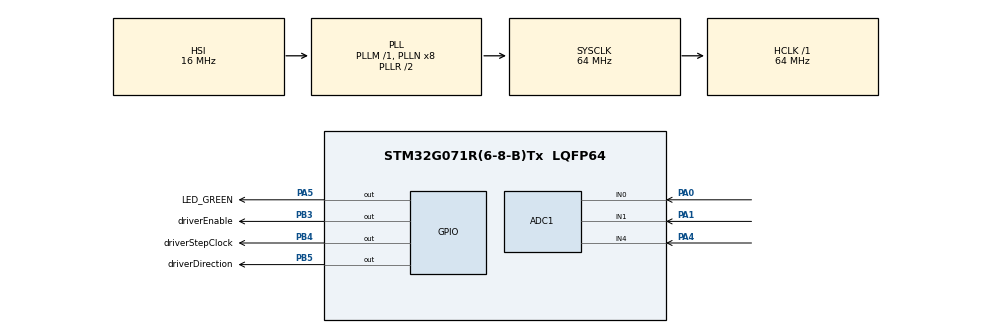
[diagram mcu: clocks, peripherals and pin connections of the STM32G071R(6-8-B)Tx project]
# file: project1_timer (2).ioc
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ADC1.Channel-0\#ChannelRegularConversion=ADC_CHANNEL_0
ADC1.Channel-1\#ChannelRegularConversion=ADC_CHANNEL_1
ADC1.Channel-2\#ChannelRegularConversion=ADC_CHANNEL_4
ADC1.ClockPrescaler=ADC_CLOCK_ASYNC_DIV1
ADC1.DMAContinuousRequests=ENABLE
ADC1.ExternalTrigConv=ADC_EXTERNALTRIG_T2_TRGO
ADC1.NbrOfConversion=3
ADC1.NbrOfConversionFlag=1
ADC1.Rank-0\#ChannelRegularConversion=1
ADC1.Rank-1\#ChannelRegularConversion=2
ADC1.Rank-2\#ChannelRegularConversion=3
ADC1.SamplingTime-0\#ChannelRegularConversion=ADC_SAMPLINGTIME_COMMON_1
ADC1.SamplingTime-1\#ChannelRegularConversion=ADC_SAMPLINGTIME_COMMON_1
ADC1.SamplingTime-2\#ChannelRegularConversion=ADC_SAMPLINGTIME_COMMON_1
ADC1.SelectedChannel=ADC_CHANNEL_0|ADC_CHANNEL_1|ADC_CHANNEL_4
ADC1.master=1
Dma.ADC1.0.Direction=DMA_PERIPH_TO_MEMORY
Dma.ADC1.0.EventEnable=DISABLE
Dma.ADC1.0.Instance=DMA1_Channel1
Dma.ADC1.0.MemDataAlignment=DMA_MDATAALIGN_HALFWORD
Dma.ADC1.0.MemInc=DMA_MINC_ENABLE
Dma.ADC1.0.Mode=DMA_CIRCULAR
Dma.ADC1.0.PeriphDataAlignment=DMA_PDATAALIGN_HALFWORD
Dma.ADC1.0.PeriphInc=DMA_PINC_DISABLE
Dma.ADC1.0.Polarity=HAL_DMAMUX_REQ_GEN_RISING
Dma.ADC1.0.Priority=DMA_PRIORITY_LOW
Dma.ADC1.0.RequestNumber=1
Dma.ADC1.0.SignalID=NONE
Dma.ADC1.0.SyncEnable=DISABLE
Dma.ADC1.0.SyncPolarity=HAL_DMAMUX_SYNC_NO_EVENT
Dma.ADC1.0.SyncRequestNumber=1
Dma.ADC1.0.SyncSignalID=NONE
Dma.Request0=ADC1
Mcu.Family=STM32G0
Mcu.Name=STM32G071R(6-8-B)Tx
Mcu.Package=LQFP64
NVIC.DMA1_Channel1_IRQn=true\:0\:0\:false\:false\:true\:false\:true\:true
NVIC.TIM1_BRK_UP_TRG_COM_IRQn=true\:0\:0\:false\:false\:true\:true\:true\:true
NVIC.TIM2_IRQn=true\:0\:0\:false\:false\:true\:true\:true\:true
PA0.Mode=IN0
PA0.Signal=ADC1_IN0
PA1.Mode=IN1
PA1.Signal=ADC1_IN1
PA13.GPIO_Label=TMS
PA13.Signal=SYS_SWDIO
PA14-BOOT0.GPIO_Label=TCK
PA14-BOOT0.Signal=SYS_SWCLK
PA2.GPIO_Label=USART2_TX [STLK_TX]
PA2.Signal=USART2_TX
PA3.GPIO_Label=USART2_RX [STLK_RX]
PA3.Signal=USART2_RX
PA4.Mode=IN4
PA4.Signal=ADC1_IN4
PA5.GPIO_Label=LED_GREEN
PA5.GPIO_Speed=GPIO_SPEED_FREQ_HIGH
PA5.Signal=GPIO_Output
PB3.GPIO_Label=driverEnable
PB3.Signal=GPIO_Output
PB4.GPIO_Label=driverStepClock
PB4.Signal=GPIO_Output
PB5.GPIO_Label=driverDirection
PB5.Signal=GPIO_Output
PC13.Signal=SYS_WKUP2
PC14-OSC32_IN\ (PC14).Signal=RCC_OSC32_IN
PC15-OSC32_OUT\ (PC15).Signal=RCC_OSC32_OUT
PF0-OSC_IN\ (PF0).GPIO_Label=MCO
PF0-OSC_IN\ (PF0).Signal=RCC_OSC_IN
ProjectManager.HeapSize=0x200
ProjectManager.StackSize=0x400
ProjectManager.TargetToolchain=MDK-ARM V5.32
RCC.ADCFreq_Value=64000000
RCC.AHBFreq_Value=64000000
RCC.CortexFreq_Value=64000000
RCC.EXTERNAL_CLOCK_VALUE=12288000
RCC.HCLKFreq_Value=64000000
RCC.HSE_VALUE=8000000
RCC.HSI_VALUE=16000000
RCC.LSE_VALUE=32768
RCC.SYSCLKFreq_VALUE=64000000
RCC.SYSCLKSource=RCC_SYSCLKSOURCE_PLLCLK
RCC.VCOOutputFreq_Value=128000000
TIM1.Period=1000-1
TIM1.Prescaler=64-1
TIM2.Period=30-1
TIM2.Prescaler=64-1
TIM2.TIM_MasterOutputTrigger=TIM_TRGO_UPDATE
VP_TIM1_VS_ClockSourceINT.Mode=Internal
VP_TIM2_VS_ClockSourceINT.Mode=Internal
board=NUCLEO-G071RB

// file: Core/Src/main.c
/* USER CODE BEGIN Header */
/**
  ******************************************************************************
  * @file           : main.c
  * @brief          : Main program body
  ******************************************************************************
  * @attention
  *
  * Copyright (c) 2023 STMicroelectronics.
  * All rights reserved.
  *
  * This software is licensed under terms that can be found in the LICENSE file
  * in the root directory of this software component.
  * If no LICENSE file comes with this software, it is provided AS-IS.
  *
  ******************************************************************************
  */
/* USER CODE END Header */
#include "main.h"

/* USER CODE BEGIN Includes */
#include "stdbool.h"
/* USER CODE END Includes */

ADC_HandleTypeDef hadc1;
DMA_HandleTypeDef hdma_adc1;

TIM_HandleTypeDef htim1;
TIM_HandleTypeDef htim2;

void SystemClock_Config(void);
static void MX_GPIO_Init(void);
static void MX_DMA_Init(void);
static void MX_TIM1_Init(void);
static void MX_ADC1_Init(void);
static void MX_TIM2_Init(void);
/* USER CODE BEGIN PFP */

volatile uint8_t timerCount = 0;
volatile bool timerFlag = false;
volatile uint16_t motorStepCount = 0;
volatile uint16_t motorRotateCount = 0;
volatile uint16_t noOfTurn = 10;
volatile uint16_t noSteptoGive = 8000;
uint16_t x = 0 ;
volatile uint32_t adcResult[3];
/* USER CODE END PFP */

int main(void)
{

  /* MCU Configuration--------------------------------------------------------*/

  /* Reset of all peripherals, Initializes the Flash interface and the Systick. */
  HAL_Init();

  /* Configure the system clock */
  SystemClock_Config();

  /* Initialize all configured peripherals */
  MX_GPIO_Init();
  MX_DMA_Init();
  MX_TIM1_Init();
  MX_ADC1_Init();
  MX_TIM2_Init();
  /* USER CODE BEGIN 2 */
	HAL_TIM_Base_Start_IT(&htim1);
	HAL_TIM_Base_Start_IT(&htim2);
	HAL_ADC_Start_DMA(&hadc1,adcResult,3);
  /* USER CODE END 2 */

  /* Infinite loop */
  /* USER CODE BEGIN WHILE */
	HAL_Delay(2);
  while (1)
  {
    /* USER CODE END WHILE */

    /* USER CODE BEGIN 3 */
		if (timerFlag)
		{
			timerFlag = false;
			timerCount += 1;
			switch (timerCount)
			{
				case 1:

					HAL_GPIO_WritePin(driverStepClock_GPIO_Port,driverStepClock_Pin, GPIO_PIN_SET);
					motorStepCount += 1;
					break;
				case 12:
					HAL_GPIO_WritePin(driverStepClock_GPIO_Port,driverStepClock_Pin, GPIO_PIN_RESET);
					if (motorStepCount == noSteptoGive)
					{
						motorStepCount = 0;
						HAL_GPIO_TogglePin(driverDirection_GPIO_Port, driverDirection_Pin);
					}
					// write logic for ADC Start and its timer (on ADCwithdma and timer for its trigger)
					break;
				case 24:
					break;
					// write logic for ADC stop and its timer (on ADCwithdma and timer for its trigger)
					// transmit data from here
				case 36:
					timerCount = 0;
					if(motorRotateCount == 2*noSteptoGive)
					{
						HAL_TIM_Base_Stop_IT(&htim1);
						HAL_GPIO_WritePin(driverEnable_GPIO_Port, driverEnable_Pin,GPIO_PIN_RESET);
					}
					break;

			}

		}
  }
  /* USER CODE END 3 */
}

void SystemClock_Config(void)
{
  RCC_OscInitTypeDef RCC_OscInitStruct = {0};
  RCC_ClkInitTypeDef RCC_ClkInitStruct = {0};

  /** Configure the main internal regulator output voltage
  */
  HAL_PWREx_ControlVoltageScaling(PWR_REGULATOR_VOLTAGE_SCALE1);

  /** Initializes the RCC Oscillators according to the specified parameters
  * in the RCC_OscInitTypeDef structure.
  */
  RCC_OscInitStruct.OscillatorType = RCC_OSCILLATORTYPE_HSI;
  RCC_OscInitStruct.HSIState = RCC_HSI_ON;
  RCC_OscInitStruct.HSIDiv = RCC_HSI_DIV1;
  RCC_OscInitStruct.HSICalibrationValue = RCC_HSICALIBRATION_DEFAULT;
  RCC_OscInitStruct.PLL.PLLState = RCC_PLL_ON;
  RCC_OscInitStruct.PLL.PLLSource = RCC_PLLSOURCE_HSI;
  RCC_OscInitStruct.PLL.PLLM = RCC_PLLM_DIV1;
  RCC_OscInitStruct.PLL.PLLN = 8;
  RCC_OscInitStruct.PLL.PLLP = RCC_PLLP_DIV2;
  RCC_OscInitStruct.PLL.PLLQ = RCC_PLLQ_DIV2;
  RCC_OscInitStruct.PLL.PLLR = RCC_PLLR_DIV2;
  if (HAL_RCC_OscConfig(&RCC_OscInitStruct) != HAL_OK)
  {
    Error_Handler();
  }

  /** Initializes the CPU, AHB and APB buses clocks
  */
  RCC_ClkInitStruct.ClockType = RCC_CLOCKTYPE_HCLK|RCC_CLOCKTYPE_SYSCLK
                              |RCC_CLOCKTYPE_PCLK1;
  RCC_ClkInitStruct.SYSCLKSource = RCC_SYSCLKSOURCE_PLLCLK;
  RCC_ClkInitStruct.AHBCLKDivider = RCC_SYSCLK_DIV1;
  RCC_ClkInitStruct.APB1CLKDivider = RCC_HCLK_DIV1;

  if (HAL_RCC_ClockConfig(&RCC_ClkInitStruct, FLASH_LATENCY_2) != HAL_OK)
  {
    Error_Handler();
  }
}

static void MX_ADC1_Init(void)
{

  ADC_ChannelConfTypeDef sConfig = {0};

  /** Configure the global features of the ADC (Clock, Resolution, Data Alignment and number of conversion)
  */
  hadc1.Instance = ADC1;
  hadc1.Init.ClockPrescaler = ADC_CLOCK_ASYNC_DIV1;
  hadc1.Init.Resolution = ADC_RESOLUTION_12B;
  hadc1.Init.DataAlign = ADC_DATAALIGN_RIGHT;
  hadc1.Init.ScanConvMode = ADC_SCAN_ENABLE;
  hadc1.Init.EOCSelection = ADC_EOC_SINGLE_CONV;
  hadc1.Init.LowPowerAutoWait = DISABLE;
  hadc1.Init.LowPowerAutoPowerOff = DISABLE;
  hadc1.Init.ContinuousConvMode = DISABLE;
  hadc1.Init.NbrOfConversion = 3;
  hadc1.Init.DiscontinuousConvMode = DISABLE;
  hadc1.Init.ExternalTrigConv = ADC_EXTERNALTRIG_T2_TRGO;
  hadc1.Init.ExternalTrigConvEdge = ADC_EXTERNALTRIGCONVEDGE_RISING;
  hadc1.Init.DMAContinuousRequests = ENABLE;
  hadc1.Init.Overrun = ADC_OVR_DATA_PRESERVED;
  hadc1.Init.SamplingTimeCommon1 = ADC_SAMPLETIME_1CYCLE_5;
  hadc1.Init.SamplingTimeCommon2 = ADC_SAMPLETIME_1CYCLE_5;
  hadc1.Init.OversamplingMode = DISABLE;
  hadc1.Init.TriggerFrequencyMode = ADC_TRIGGER_FREQ_HIGH;
  if (HAL_ADC_Init(&hadc1) != HAL_OK)
  {
    Error_Handler();
  }

  /** Configure Regular Channel
  */
  sConfig.Channel = ADC_CHANNEL_0;
  sConfig.Rank = ADC_REGULAR_RANK_1;
  sConfig.SamplingTime = ADC_SAMPLINGTIME_COMMON_1;
  if (HAL_ADC_ConfigChannel(&hadc1, &sConfig) != HAL_OK)
  {
    Error_Handler();
  }

  /** Configure Regular Channel
  */
  sConfig.Channel = ADC_CHANNEL_1;
  sConfig.Rank = ADC_REGULAR_RANK_2;
  if (HAL_ADC_ConfigChannel(&hadc1, &sConfig) != HAL_OK)
  {
    Error_Handler();
  }

  /** Configure Regular Channel
  */
  sConfig.Channel = ADC_CHANNEL_4;
  sConfig.Rank = ADC_REGULAR_RANK_3;
  if (HAL_ADC_ConfigChannel(&hadc1, &sConfig) != HAL_OK)
  {
    Error_Handler();
  }

}

static void MX_TIM1_Init(void)
{

  TIM_ClockConfigTypeDef sClockSourceConfig = {0};
  TIM_MasterConfigTypeDef sMasterConfig = {0};

  htim1.Instance = TIM1;
  htim1.Init.Prescaler = 64-1;
  htim1.Init.CounterMode = TIM_COUNTERMODE_UP;
  htim1.Init.Period = 1000-1;
  htim1.Init.ClockDivision = TIM_CLOCKDIVISION_DIV1;
  htim1.Init.RepetitionCounter = 0;
  htim1.Init.AutoReloadPreload = TIM_AUTORELOAD_PRELOAD_DISABLE;
  if (HAL_TIM_Base_Init(&htim1) != HAL_OK)
  {
    Error_Handler();
  }
  sClockSourceConfig.ClockSource = TIM_CLOCKSOURCE_INTERNAL;
  if (HAL_TIM_ConfigClockSource(&htim1, &sClockSourceConfig) != HAL_OK)
  {
    Error_Handler();
  }
  sMasterConfig.MasterOutputTrigger = TIM_TRGO_RESET;
  sMasterConfig.MasterOutputTrigger2 = TIM_TRGO2_RESET;
  sMasterConfig.MasterSlaveMode = TIM_MASTERSLAVEMODE_DISABLE;
  if (HAL_TIMEx_MasterConfigSynchronization(&htim1, &sMasterConfig) != HAL_OK)
  {
    Error_Handler();
  }

}

static void MX_TIM2_Init(void)
{

  TIM_ClockConfigTypeDef sClockSourceConfig = {0};
  TIM_MasterConfigTypeDef sMasterConfig = {0};

  htim2.Instance = TIM2;
  htim2.Init.Prescaler = 64-1;
  htim2.Init.CounterMode = TIM_COUNTERMODE_UP;
  htim2.Init.Period = 30-1;
  htim2.Init.ClockDivision = TIM_CLOCKDIVISION_DIV1;
  htim2.Init.AutoReloadPreload = TIM_AUTORELOAD_PRELOAD_DISABLE;
  if (HAL_TIM_Base_Init(&htim2) != HAL_OK)
  {
    Error_Handler();
  }
  sClockSourceConfig.ClockSource = TIM_CLOCKSOURCE_INTERNAL;
  if (HAL_TIM_ConfigClockSource(&htim2, &sClockSourceConfig) != HAL_OK)
  {
    Error_Handler();
  }
  sMasterConfig.MasterOutputTrigger = TIM_TRGO_UPDATE;
  sMasterConfig.MasterSlaveMode = TIM_MASTERSLAVEMODE_DISABLE;
  if (HAL_TIMEx_MasterConfigSynchronization(&htim2, &sMasterConfig) != HAL_OK)
  {
    Error_Handler();
  }

}

static void MX_DMA_Init(void)
{

  /* DMA controller clock enable */
  __HAL_RCC_DMA1_CLK_ENABLE();

  /* DMA interrupt init */
  /* DMA1_Channel1_IRQn interrupt configuration */
  HAL_NVIC_SetPriority(DMA1_Channel1_IRQn, 0, 0);
  HAL_NVIC_EnableIRQ(DMA1_Channel1_IRQn);

}

static void MX_GPIO_Init(void)
{
  GPIO_InitTypeDef GPIO_InitStruct = {0};

  /* GPIO Ports Clock Enable */
  __HAL_RCC_GPIOC_CLK_ENABLE();
  __HAL_RCC_GPIOF_CLK_ENABLE();
  __HAL_RCC_GPIOA_CLK_ENABLE();
  __HAL_RCC_GPIOB_CLK_ENABLE();

  /*Configure GPIO pin Output Level */
  HAL_GPIO_WritePin(LED_GREEN_GPIO_Port, LED_GREEN_Pin, GPIO_PIN_RESET);

  /*Configure GPIO pin Output Level */
  HAL_GPIO_WritePin(GPIOB, driverEnable_Pin|driverStepClock_Pin|driverDirection_Pin, GPIO_PIN_RESET);

  /*Configure GPIO pins : USART2_TX_Pin USART2_RX_Pin */
  GPIO_InitStruct.Pin = USART2_TX_Pin|USART2_RX_Pin;
  GPIO_InitStruct.Mode = GPIO_MODE_AF_PP;
  GPIO_InitStruct.Pull = GPIO_NOPULL;
  GPIO_InitStruct.Speed = GPIO_SPEED_FREQ_LOW;
  GPIO_InitStruct.Alternate = GPIO_AF1_USART2;
  HAL_GPIO_Init(GPIOA, &GPIO_InitStruct);

  /*Configure GPIO pin : LED_GREEN_Pin */
  GPIO_InitStruct.Pin = LED_GREEN_Pin;
  GPIO_InitStruct.Mode = GPIO_MODE_OUTPUT_PP;
  GPIO_InitStruct.Pull = GPIO_NOPULL;
  GPIO_InitStruct.Speed = GPIO_SPEED_FREQ_HIGH;
  HAL_GPIO_Init(LED_GREEN_GPIO_Port, &GPIO_InitStruct);

  /*Configure GPIO pins : driverEnable_Pin driverStepClock_Pin driverDirection_Pin */
  GPIO_InitStruct.Pin = driverEnable_Pin|driverStepClock_Pin|driverDirection_Pin;
  GPIO_InitStruct.Mode = GPIO_MODE_OUTPUT_PP;
  GPIO_InitStruct.Pull = GPIO_NOPULL;
  GPIO_InitStruct.Speed = GPIO_SPEED_FREQ_LOW;
  HAL_GPIO_Init(GPIOB, &GPIO_InitStruct);

}

void Error_Handler(void)
{
  __disable_irq();
  while (1)
  {
  }
}
